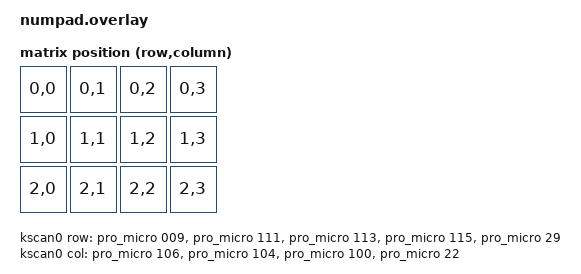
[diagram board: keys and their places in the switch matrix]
// 
// Dongle Board overlay
// 
// Created: 2025-Aug-09 17:43
// 
// Edited: 2025-Aug-09 17:52
// 

#include <dt-bindings/zmk/matrix_transform.h> // Put this with the other includes at the top of your overlay

/ {
    chosen {
        zmk,kscan = &kscan0;
        zmk,physical-layout = &physical_layout0;
    };
    kscan0: kscan0 {
        compatible = "zmk,kscan-gpio-matrix";
        diode-direction = "col2row";
        wakeup-source;

        col-gpios
            = <&pro_micro 106 GPIO_ACTIVE_HIGH>
            , <&pro_micro 104 GPIO_ACTIVE_HIGH>
            , <&pro_micro 100 GPIO_ACTIVE_HIGH>
            , <&pro_micro 22 GPIO_ACTIVE_HIGH>
            ;

        row-gpios
            = <&pro_micro 009 (GPIO_ACTIVE_HIGH | GPIO_PULL_DOWN)>
            , <&pro_micro 111 (GPIO_ACTIVE_HIGH | GPIO_PULL_DOWN)>
            , <&pro_micro 113 (GPIO_ACTIVE_HIGH | GPIO_PULL_DOWN)>
            , <&pro_micro 115 (GPIO_ACTIVE_HIGH | GPIO_PULL_DOWN)>
            , <&pro_micro 29 (GPIO_ACTIVE_HIGH | GPIO_PULL_DOWN)>
            ;
    };

    default_transform: keymap_transform0 {
        compatible = "zmk,matrix-transform";
        columns = <4>; // Length of the "col-gpios" array
        rows = <5>; // Length of the "row-gpios" array
        map = <
        //   Key 1 | Key 2 | Key 3 | Key 4
            RC(0,0) RC(0,1) RC(0,2) RC(0,3)
        //   Key 5 | Key 6 | Key 7 | Key 8
            RC(1,0) RC(1,1) RC(1,2) RC(1,3)
        //   Key 9 | Key 10 | Key 12 | Key 13
            RC(2,0) RC(2,1) RC(2,2) RC(2,3)
        >;
    };
    physical_layout0: physical_layout_0 { // First physical layout, use different naming for other layouts
        compatible = "zmk,physical-layout";
        display-name = "Default Layout";
        kscan = <&kscan0>; // Label of the kscan node, optional if all layouts use the same
        transform = <&default_transform>; // Label of the matrix transform for this layout
    };
};
